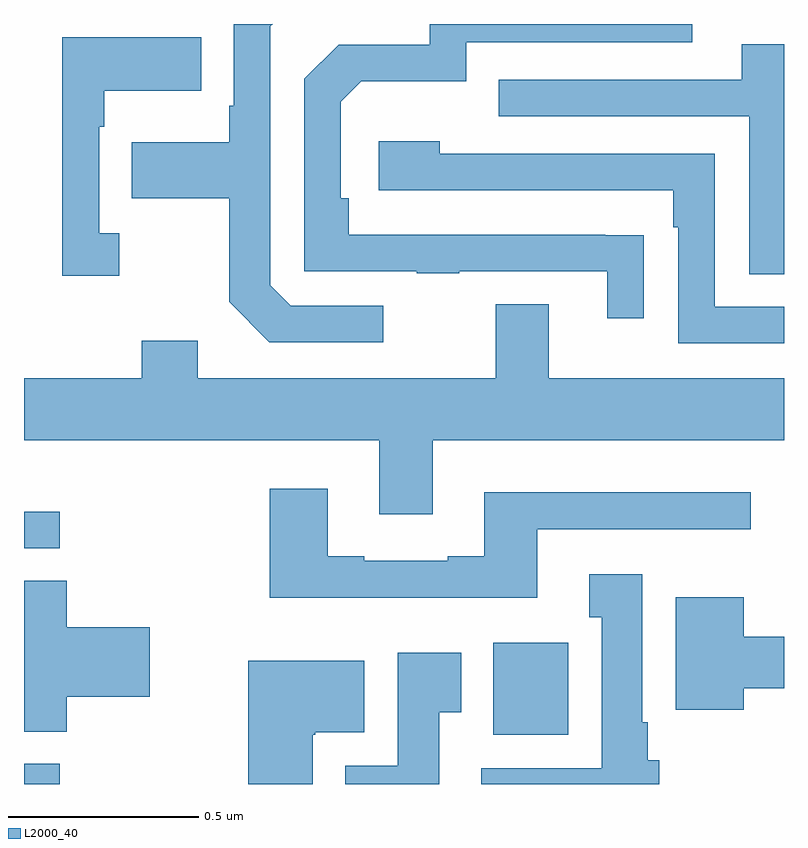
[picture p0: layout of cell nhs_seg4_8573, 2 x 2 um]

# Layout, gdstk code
import gdstk
lib = gdstk.Library(unit=1e-6, precision=1e-09)
def R(c, l, rs):  # rectangles x0, y0, x1, y1
    for r in rs: c.add(gdstk.rectangle(r[:2], r[2:], *l))
def P(c, l, *ps):  # polygons
    for p in ps: c.add(gdstk.Polygon(p, *l))
L2000_40 = (2000, 40)

nhs_seg4_8573 = lib.new_cell('nhs_seg4_8573')
R(nhs_seg4_8573, L2000_40, [(216,811.9,216.094,811.953), (217.235,812.03,217.432,812.272), (216,812.52,216.094,812.616)])
P(nhs_seg4_8573, L2000_40, [(217.631,813.344),(217.529,813.344),(217.529,813.345),(216.854,813.345),(216.854,813.442),(216.834,813.442),(216.834,813.696),(216.887,813.749),(217.164,813.749),(217.164,813.852),(217.759,813.852),(217.759,813.9),(217.068,813.9),(217.068,813.846),(216.828,813.846),(216.738,813.756),(216.738,813.249),(217.033,813.249),(217.033,813.244),(217.145,813.244),(217.145,813.249),(217.535,813.249),(217.535,813.126),(217.631,813.126)],
  [(216.946,813.159),(216.702,813.159),(216.648,813.213),(216.648,813.894),(216.654,813.9),(216.552,813.9),(216.552,813.685),(216.54,813.685),(216.54,813.589),(216.283,813.589),(216.283,813.442),(216.54,813.442),(216.54,813.169),(216.645,813.063),(216.946,813.063)],
  [(216.25,813.35),(216.198,813.35),(216.198,813.629),(216.211,813.629),(216.211,813.725),(216.467,813.725),(216.467,813.865),(216.101,813.865),(216.101,813.237),(216.25,813.237)],
  [(218,813.847),(217.889,813.847),(217.889,813.753),(217.249,813.753),(217.249,813.657),(217.908,813.657),(217.908,813.241),(218,813.241)],
  [(218,813.156),(217.818,813.156),(217.818,813.558),(217.094,813.558),(217.094,813.592),(216.933,813.592),(216.933,813.462),(217.709,813.462),(217.709,813.365),(217.722,813.365),(217.722,813.06),(218,813.06)],
  [(217.075,812.804),(218,812.804),(218,812.968),(217.381,812.968),(217.381,813.163),(217.241,813.163),(217.241,812.968),(216.457,812.968),(216.457,813.067),(216.31,813.067),(216.31,812.968),(216,812.968),(216,812.804),(216.935,812.804),(216.935,812.61),(217.075,812.61)],
  [(217.351,812.571),(217.912,812.571),(217.912,812.668),(217.211,812.668),(217.211,812.5),(217.115,812.5),(217.115,812.487),(216.895,812.487),(216.895,812.5),(216.799,812.5),(216.799,812.677),(216.647,812.677),(216.647,812.39),(217.351,812.39)],
  [(217.672,811.962),(217.642,811.962),(217.642,812.062),(217.627,812.062),(217.627,812.452),(217.487,812.452),(217.487,812.339),(217.52,812.339),(217.52,811.942),(217.203,811.942),(217.203,811.9),(217.672,811.9)],
  [(216.113,812.129),(216.331,812.129),(216.331,812.312),(216.113,812.312),(216.113,812.435),(216,812.435),(216,812.038),(216.113,812.038)],
  [(217.894,812.152),(218,812.152),(218,812.288),(217.894,812.288),(217.894,812.392),(217.715,812.392),(217.715,812.096),(217.894,812.096)],
  [(217.093,812.089),(217.15,812.089),(217.15,812.245),(216.983,812.245),(216.983,811.948),(216.845,811.948),(216.845,811.9),(217.093,811.9)],
  [(216.76,812.03),(216.766,812.03),(216.766,812.036),(216.895,812.036),(216.895,812.224),(216.59,812.224),(216.59,811.9),(216.76,811.9)])

lib.write_gds('nhs_seg4_8573.gds')
